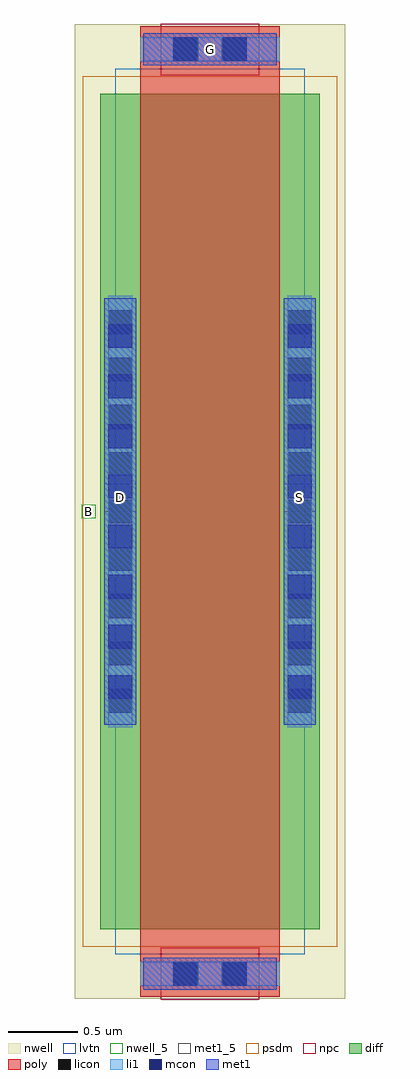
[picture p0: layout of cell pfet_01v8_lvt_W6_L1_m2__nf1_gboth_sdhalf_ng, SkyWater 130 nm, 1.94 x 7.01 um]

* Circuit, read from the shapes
.subckt pfet_01v8_lvt_W6_L1_m2__nf1_gboth_sdhalf_ng B D G S
XM1 S G D B sky130_fd_pr__pfet_01v8_lvt w=6 l=1
.ends

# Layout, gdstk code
import gdstk
lib = gdstk.Library(unit=1e-6, precision=1e-09)
def R(c, l, rs):  # rectangles x0, y0, x1, y1
    for r in rs: c.add(gdstk.rectangle(r[:2], r[2:], *l))
def A(c, l, x, y, w, h, nx, ny, dx, dy):  # array of equal rectangles
    R(c, l, [(x+i*dx, y+j*dy, x+i*dx+w, y+j*dy+h) for i in range(nx) for j in range(ny)])
nwell_5 = (64, 5)
nwell = (64, 20)
diff = (65, 20)
poly = (66, 20)
licon = (66, 44)
li1 = (67, 20)
mcon = (67, 44)
met1_5 = (68, 5)
met1 = (68, 20)
psdm = (94, 20)
npc = (95, 20)
lvtn = (125, 44)

sky130_fd_pr__pfet_01v8_ = lib.new_cell('sky130_fd_pr__pfet_01v8_lvt_S7K2T6')
R(sky130_fd_pr__pfet_01v8_, nwell, [(-0.97,-3.5,0.97,3.5)])
R(sky130_fd_pr__pfet_01v8_, diff, [(-0.79,-3,0.79,3)])
R(sky130_fd_pr__pfet_01v8_, poly, [(-0.5,-3.485,0.5,3.485)])
A(sky130_fd_pr__pfet_01v8_, licon, -0.73, -1.445, 0.17, 0.17, 1, 9, 0, 0.34)
A(sky130_fd_pr__pfet_01v8_, licon, 0.56, -1.445, 0.17, 0.17, 1, 9, 0, 0.34)
R(sky130_fd_pr__pfet_01v8_, licon, [(-0.255,-3.405,-0.085,-3.235), (0.085,-3.405,0.255,-3.235), (-0.255,3.235,-0.085,3.405), (0.085,3.235,0.255,3.405)])
R(sky130_fd_pr__pfet_01v8_, li1, [(-0.5,-3.405,0.5,-3.235), (-0.73,-1.55,-0.56,1.55), (0.56,-1.55,0.73,1.55), (-0.5,3.235,0.5,3.405)])
A(sky130_fd_pr__pfet_01v8_, mcon, -0.73, -1.345, 0.17, 0.17, 1, 8, 0, 0.36)
A(sky130_fd_pr__pfet_01v8_, mcon, 0.56, -1.345, 0.17, 0.17, 1, 8, 0, 0.36)
R(sky130_fd_pr__pfet_01v8_, mcon, [(-0.265,-3.405,-0.095,-3.235), (0.095,-3.405,0.265,-3.235), (-0.265,3.235,-0.095,3.405), (0.095,3.235,0.265,3.405)])
R(sky130_fd_pr__pfet_01v8_, met1, [(-0.48,-3.435,0.48,-3.205), (-0.76,-1.53,-0.53,1.53), (0.53,-1.53,0.76,1.53), (-0.48,3.205,0.48,3.435)])
R(sky130_fd_pr__pfet_01v8_, psdm, [(-0.915,-3.125,0.915,3.125)])
R(sky130_fd_pr__pfet_01v8_, npc, [(-0.355,-3.505,0.355,-3.135), (-0.355,3.135,0.355,3.505)])
R(sky130_fd_pr__pfet_01v8_, lvtn, [(-0.68,-3.18,0.68,3.18)])
sky130_fd_pr__pfet_01v8_.add(gdstk.Label('D', (-0.645,0), layer=67, texttype=5))
sky130_fd_pr__pfet_01v8_.add(gdstk.Label('S', (0.645,0), layer=67, texttype=5))
sky130_fd_pr__pfet_01v8_.add(gdstk.Label('G', (0,3.32), layer=67, texttype=5))

pfet_01v8_lvt_w6_l1_m2__ = lib.new_cell('pfet_01v8_lvt_W6_L1_m2__nf1_gboth_sdhalf_ng')
R(pfet_01v8_lvt_w6_l1_m2__, nwell_5, [(0.05,3.45,0.15,3.55)])
R(pfet_01v8_lvt_w6_l1_m2__, nwell, [(0.05,3.45,0.15,3.55)])
R(pfet_01v8_lvt_w6_l1_m2__, met1_5, [(0.21,3.5,0.44,3.7), (1.5,3.5,1.73,3.7), (0.49,6.705,1.45,6.935)])
R(pfet_01v8_lvt_w6_l1_m2__, met1, [(0.21,3.5,0.44,3.7), (1.5,3.5,1.73,3.7), (0.49,6.705,1.45,6.935)])
pfet_01v8_lvt_w6_l1_m2__.add(gdstk.Reference(sky130_fd_pr__pfet_01v8_, (0.97,3.5)))
pfet_01v8_lvt_w6_l1_m2__.add(gdstk.Label('D', (0.325,3.6), layer=68, texttype=5))
pfet_01v8_lvt_w6_l1_m2__.add(gdstk.Label('S', (1.615,3.6), layer=68, texttype=5))
pfet_01v8_lvt_w6_l1_m2__.add(gdstk.Label('G', (0.97,6.82), layer=68, texttype=5))
pfet_01v8_lvt_w6_l1_m2__.add(gdstk.Label('B', (0.1,3.5), layer=64, texttype=5))

lib.write_gds('pfet_01v8_lvt_W6_L1_m2__nf1_gboth_sdhalf_ng.gds')
